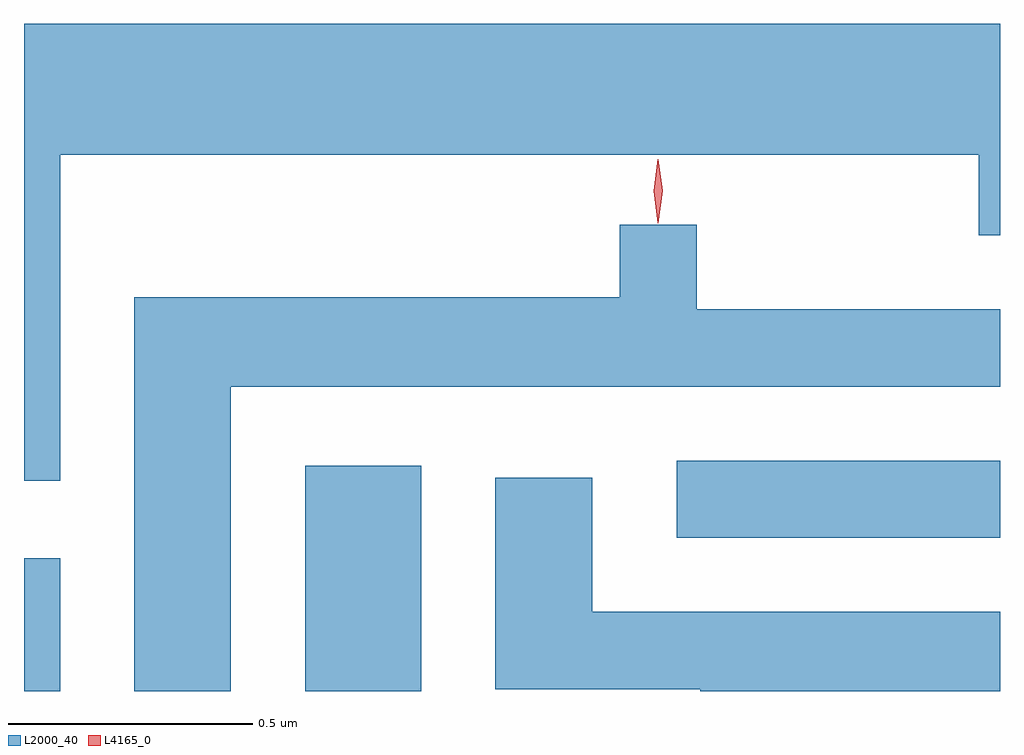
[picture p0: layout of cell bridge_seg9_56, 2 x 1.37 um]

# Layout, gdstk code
import gdstk
lib = gdstk.Library(unit=1e-6, precision=1e-09)
def R(c, l, rs):  # rectangles x0, y0, x1, y1
    for r in rs: c.add(gdstk.rectangle(r[:2], r[2:], *l))
def P(c, l, *ps):  # polygons
    for p in ps: c.add(gdstk.Polygon(p, *l))
L2000_40 = (2000, 40)
L4165_0 = (4165, 0)

bridge_seg9_56 = lib.new_cell('bridge_seg9_56')
R(bridge_seg9_56, L2000_40, [(1624.03,1988.497,1624.104,1988.769), (1624.606,1988.497,1624.844,1988.959), (1625.368,1988.811,1626.03,1988.969)])
P(bridge_seg9_56, L2000_40, [(1624.104,1989.596),(1625.986,1989.596),(1625.986,1989.431),(1626.03,1989.431),(1626.03,1989.864),(1624.03,1989.864),(1624.03,1988.928),(1624.104,1988.928)],
  [(1624.454,1989.121),(1626.03,1989.121),(1626.03,1989.279),(1625.409,1989.279),(1625.409,1989.453),(1625.251,1989.453),(1625.251,1989.304),(1624.256,1989.304),(1624.256,1988.497),(1624.454,1988.497)],
  [(1626.03,1988.659),(1625.194,1988.659),(1625.194,1988.934),(1624.996,1988.934),(1624.996,1988.501),(1625.416,1988.501),(1625.416,1988.497),(1626.03,1988.497)])
P(bridge_seg9_56, L4165_0, [(1625.329,1989.456),(1625.32,1989.522),(1625.329,1989.587),(1625.329,1989.587),(1625.33,1989.587),(1625.339,1989.522),(1625.33,1989.456),(1625.33,1989.456)])

lib.write_gds('bridge_seg9_56.gds')
